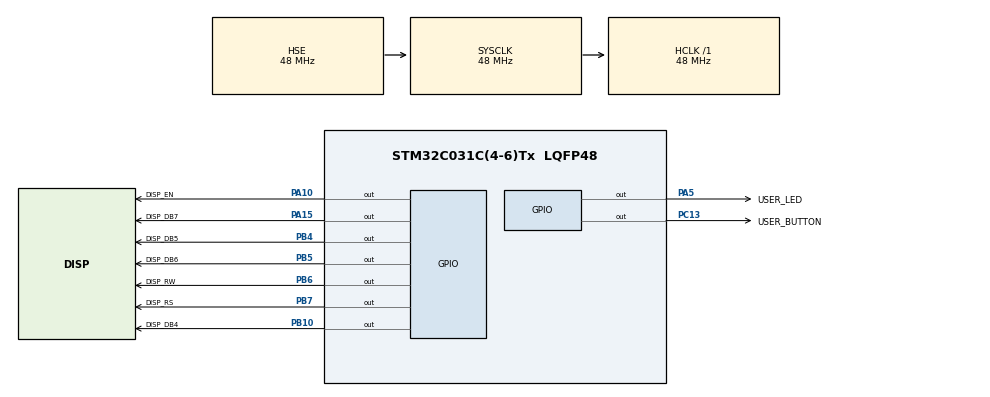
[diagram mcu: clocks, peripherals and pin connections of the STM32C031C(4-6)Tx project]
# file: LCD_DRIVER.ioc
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Mcu.Family=STM32C0
Mcu.Name=STM32C031C(4-6)Tx
Mcu.Package=LQFP48
PA10.GPIO_Label=DISP_EN
PA10.Signal=GPIO_Output
PA13.GPIO_Label=DEBUG_SWDIO
PA13.Signal=DEBUG_SWDIO
PA14-BOOT0.GPIO_Label=DEBUG_SWCLK
PA14-BOOT0.Signal=DEBUG_SWCLK
PA15.GPIO_Label=DISP_DB7
PA15.Signal=GPIO_Output
PA2.GPIO_Label=VCP_USART2_TX
PA2.Signal=USART2_TX
PA3.GPIO_Label=VCP_USART2_RX
PA3.Signal=USART2_RX
PA5.GPIO_Label=USER_LED
PA5.Signal=GPIO_Output
PB10.GPIO_Label=DISP_DB4
PB10.Signal=GPIO_Output
PB4.GPIO_Label=DISP_DB5
PB4.Signal=GPIO_Output
PB5.GPIO_Label=DISP_DB6
PB5.Signal=GPIO_Output
PB6.GPIO_Label=DISP_RW
PB6.Signal=GPIO_Output
PB7.GPIO_Label=DISP_RS
PB7.Signal=GPIO_Output
PC13.GPIO_Label=USER_BUTTON
PC13.Signal=GPIO_Output
PC14-OSCX_IN\ (PC14).GPIO_Label=RCC_OSCX_IN
PC14-OSCX_IN\ (PC14).Mode=LSE-External-Oscillator
PC14-OSCX_IN\ (PC14).Signal=RCC_OSCX_IN
PC15-OSCX_OUT\ (PC15).GPIO_Label=RCC_OSCX_OUT
PC15-OSCX_OUT\ (PC15).Mode=LSE-External-Oscillator
PC15-OSCX_OUT\ (PC15).Signal=RCC_OSCX_OUT
PF0-OSC_IN\ (PF0).GPIO_Label=RCC_OSC_IN
PF0-OSC_IN\ (PF0).Mode=HSE-External-Oscillator
PF0-OSC_IN\ (PF0).Signal=RCC_OSC_IN
PF1-OSC_OUT\ (PF1).GPIO_Label=RCC_OSC_OUT
PF1-OSC_OUT\ (PF1).Mode=HSE-External-Oscillator
PF1-OSC_OUT\ (PF1).Signal=RCC_OSC_OUT
ProjectManager.HeapSize=0x200
ProjectManager.StackSize=0x400
ProjectManager.TargetToolchain=STM32CubeIDE
RCC.ADCFreq_Value=48000000
RCC.AHBFreq_Value=48000000
RCC.CortexFreq_Value=48000000
RCC.EXTERNAL_CLOCK_VALUE=12288000
RCC.HCLKFreq_Value=48000000
RCC.HSE_VALUE=48000000
RCC.HSISYSCLKDivider=RCC_HSI_DIV1
RCC.HSI_VALUE=48000000
RCC.SYSCLKFreq_VALUE=48000000
RCC.SYSCLKSource=RCC_SYSCLKSOURCE_HSE
board=NUCLEO-C031C6

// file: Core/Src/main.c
/* USER CODE BEGIN Header */
/**
  ******************************************************************************
  * @file           : main.c
  * @brief          : Main program body
  ******************************************************************************
  * @attention
  *
  * Copyright (c) 2026 STMicroelectronics.
  * All rights reserved.
  *
  * This software is licensed under terms that can be found in the LICENSE file
  * in the root directory of this software component.
  * If no LICENSE file comes with this software, it is provided AS-IS.
  *
  ******************************************************************************
  */
/* USER CODE END Header */
#include "main.h"

/* USER CODE BEGIN PD */
#define RESET(c)    LL_GPIO_ResetOutputPin(c##_GPIO_Port, c##_Pin)
#define SET(c)      LL_GPIO_SetOutputPin(c##_GPIO_Port, c##_Pin)
#define TOGGLE(c)   LL_GPIO_TogglePin(c##_GPIO_Port, c##_Pin)
#define DIR_OUT(c)  LL_GPIO_SetPinMode(c##_GPIO_Port, c##_Pin, LL_GPIO_MODE_OUTPUT)
#define DIR_IN(c)   LL_GPIO_SetPinMode(c##_GPIO_Port, c##_Pin, LL_GPIO_MODE_INPUT)
#define READ(c)     LL_GPIO_IsInputPinSet(c##_GPIO_Port, c##_Pin)
#define READPORT(c) LL_GPIO_ReadInputPort(c##_GPIO_Port)
/* USER CODE END PD */

void SystemClock_Config(void);
static void MX_GPIO_Init(void);

/* USER CODE BEGIN 0 */

/* ── Forward declarations ───────────────────────────────────────────────── */
void Delay_uS(uint32_t us);
void setLcdDataPort(uint8_t portDato);
int  lcdCheckBusy(void);

/* ── Microsecond delay ──────────────────────────────────────────────────── */
/* Calibrated for STM32C031 at 8 MHz HSE.                                    */
/* If you run at 48 MHz, change the multiplier from 2 to 12.                 */
void Delay_uS(uint32_t us)
{
    volatile uint32_t count = us * 2;
    while (count--);
}

/* ── Set DB4-DB7 data pins ──────────────────────────────────────────────── */
void setLcdDataPort(uint8_t portDato)
{
    if (portDato & 0x1) { SET(DISP_DB4); } else { RESET(DISP_DB4); }
    if (portDato & 0x2) { SET(DISP_DB5); } else { RESET(DISP_DB5); }
    if (portDato & 0x4) { SET(DISP_DB6); } else { RESET(DISP_DB6); }
    if (portDato & 0x8) { SET(DISP_DB7); } else { RESET(DISP_DB7); }
}

/* ── Wait until LCD busy flag clears ───────────────────────────────────── */
int lcdCheckBusy(void)
{
    uint8_t tmpLcdData;
    int delay2 = 0;
    DIR_IN(DISP_DB4); DIR_IN(DISP_DB5);
    DIR_IN(DISP_DB6); DIR_IN(DISP_DB7);
    RESET(DISP_RS);
    SET(DISP_RW);
    do {
        Delay_uS(1);
        SET(DISP_EN);
        Delay_uS(1);
        tmpLcdData = READ(DISP_DB7);
        RESET(DISP_EN);
        Delay_uS(1);
        SET(DISP_EN);
        Delay_uS(1);
        RESET(DISP_EN);
        if (tmpLcdData == 0) break;
    } while (delay2++ < 200);
    RESET(DISP_RW);
    DIR_OUT(DISP_DB4); DIR_OUT(DISP_DB5);
    DIR_OUT(DISP_DB6); DIR_OUT(DISP_DB7);
    return tmpLcdData;
}

/* ── Send 4 bits + EN pulse ─────────────────────────────────────────────── */
static void lcdSendNibble(uint8_t nibble)
{
    setLcdDataPort(nibble & 0x0F);
    Delay_uS(1);
    SET(DISP_EN);
    Delay_uS(1);
    RESET(DISP_EN);
    Delay_uS(1);
}

/* ── Send a full byte as two nibbles (high first, then low) ─────────────── */
static void lcdSendByte(uint8_t byte, uint8_t isData)
{
    lcdCheckBusy();

    if (isData)
        SET(DISP_RS);   /* RS=1 → data register    */
    else
        RESET(DISP_RS); /* RS=0 → command register */

    RESET(DISP_RW);     /* RW=0 → write            */

    lcdSendNibble(byte >> 4);    /* high nibble first */
    lcdSendNibble(byte & 0x0F);  /* low nibble second */
}

/* ── Convenience wrappers ───────────────────────────────────────────────── */
void lcdCommand(uint8_t cmd)  { lcdSendByte(cmd,  0); }
void lcdData   (uint8_t data) { lcdSendByte(data, 1); }

/* ── Full HD44780 4-bit initialization sequence ─────────────────────────── */
void lcdInit(void)
{
    RESET(DISP_EN);
    RESET(DISP_RS);
    RESET(DISP_RW);

    HAL_Delay(50);          /* >40 ms after Vcc rises              */

    /* Special 8-bit wake-up sequence sent as single nibbles */
    lcdSendNibble(0x03);
    HAL_Delay(5);           /* >4.1 ms                             */

    lcdSendNibble(0x03);
    Delay_uS(150);          /* >100 µs                             */

    lcdSendNibble(0x03);
    Delay_uS(150);

    /* Switch to 4-bit mode */
    lcdSendNibble(0x02);
    Delay_uS(150);

    /* Configuration commands (now fully in 4-bit mode) */
    lcdCommand(0x28); /* Function Set: 4-bit, 2 lines, 5x8 font  */
    lcdCommand(0x08); /* Display OFF                              */
    lcdCommand(0x01); /* Clear Display                            */
    HAL_Delay(2);     /* Clear needs >1.52 ms                     */
    lcdCommand(0x06); /* Entry Mode: cursor right, no shift       */
    lcdCommand(0x0C); /* Display ON, cursor OFF, blink OFF        */
}

/* ── Position the cursor ────────────────────────────────────────────────── */
/* row: 0 = first line, 1 = second line  |  col: 0-15                        */
void lcdSetCursor(uint8_t row, uint8_t col)
{
    uint8_t address = col + (row == 0 ? 0x00 : 0x40);
    lcdCommand(0x80 | address);
}

/* ── Print a null-terminated string ─────────────────────────────────────── */
void lcdPrint(const char *str)
{
    while (*str)
        lcdData((uint8_t)*str++);
}

/* USER CODE END 0 */

int main(void)
{

  /* MCU Configuration--------------------------------------------------------*/
  HAL_Init();

  SystemClock_Config();

  MX_GPIO_Init();

  /* USER CODE BEGIN 2 */
  lcdInit();

  lcdSetCursor(0, 0);
  lcdPrint("Roberto");

  lcdSetCursor(1, 0);
  lcdPrint("Andrea");
  /* USER CODE END 2 */

  /* Infinite loop */
  while (1)
  {

  }
}

void SystemClock_Config(void)
{
  RCC_OscInitTypeDef RCC_OscInitStruct = {0};
  RCC_ClkInitTypeDef RCC_ClkInitStruct = {0};

  __HAL_FLASH_SET_LATENCY(FLASH_LATENCY_1);

  RCC_OscInitStruct.OscillatorType = RCC_OSCILLATORTYPE_HSE;
  RCC_OscInitStruct.HSEState = RCC_HSE_ON;
  if (HAL_RCC_OscConfig(&RCC_OscInitStruct) != HAL_OK)
  {
    Error_Handler();
  }

  RCC_ClkInitStruct.ClockType = RCC_CLOCKTYPE_HCLK | RCC_CLOCKTYPE_SYSCLK
                               | RCC_CLOCKTYPE_PCLK1;
  RCC_ClkInitStruct.SYSCLKSource    = RCC_SYSCLKSOURCE_HSE;
  RCC_ClkInitStruct.SYSCLKDivider  = RCC_SYSCLK_DIV1;
  RCC_ClkInitStruct.AHBCLKDivider  = RCC_HCLK_DIV1;
  RCC_ClkInitStruct.APB1CLKDivider = RCC_APB1_DIV1;

  if (HAL_RCC_ClockConfig(&RCC_ClkInitStruct, FLASH_LATENCY_1) != HAL_OK)
  {
    Error_Handler();
  }
}

static void MX_GPIO_Init(void)
{
  LL_GPIO_InitTypeDef GPIO_InitStruct = {0};

  /* GPIO Ports Clock Enable */
  LL_IOP_GRP1_EnableClock(LL_IOP_GRP1_PERIPH_GPIOC);
  LL_IOP_GRP1_EnableClock(LL_IOP_GRP1_PERIPH_GPIOF);
  LL_IOP_GRP1_EnableClock(LL_IOP_GRP1_PERIPH_GPIOA);
  LL_IOP_GRP1_EnableClock(LL_IOP_GRP1_PERIPH_GPIOB);

  LL_GPIO_ResetOutputPin(USER_BUTTON_GPIO_Port, USER_BUTTON_Pin);
  LL_GPIO_ResetOutputPin(USER_LED_GPIO_Port,    USER_LED_Pin);
  LL_GPIO_ResetOutputPin(DISP_DB4_GPIO_Port,    DISP_DB4_Pin);
  LL_GPIO_ResetOutputPin(DISP_EN_GPIO_Port,     DISP_EN_Pin);
  LL_GPIO_ResetOutputPin(DISP_DB7_GPIO_Port,    DISP_DB7_Pin);
  LL_GPIO_ResetOutputPin(DISP_DB5_GPIO_Port,    DISP_DB5_Pin);
  LL_GPIO_ResetOutputPin(DISP_DB6_GPIO_Port,    DISP_DB6_Pin);
  LL_GPIO_ResetOutputPin(DISP_RW_GPIO_Port,     DISP_RW_Pin);
  LL_GPIO_ResetOutputPin(DISP_RS_GPIO_Port,     DISP_RS_Pin);

  GPIO_InitStruct.Mode       = LL_GPIO_MODE_OUTPUT;
  GPIO_InitStruct.Speed      = LL_GPIO_SPEED_FREQ_LOW;
  GPIO_InitStruct.OutputType = LL_GPIO_OUTPUT_PUSHPULL;
  GPIO_InitStruct.Pull       = LL_GPIO_PULL_NO;

  GPIO_InitStruct.Pin = USER_BUTTON_Pin;
  LL_GPIO_Init(USER_BUTTON_GPIO_Port, &GPIO_InitStruct);

  GPIO_InitStruct.Pin = USER_LED_Pin;
  LL_GPIO_Init(USER_LED_GPIO_Port, &GPIO_InitStruct);

  GPIO_InitStruct.Pin = DISP_DB4_Pin;
  LL_GPIO_Init(DISP_DB4_GPIO_Port, &GPIO_InitStruct);

  GPIO_InitStruct.Pin = DISP_EN_Pin;
  LL_GPIO_Init(DISP_EN_GPIO_Port, &GPIO_InitStruct);

  GPIO_InitStruct.Pin = DISP_DB7_Pin;
  LL_GPIO_Init(DISP_DB7_GPIO_Port, &GPIO_InitStruct);

  GPIO_InitStruct.Pin = DISP_DB5_Pin;
  LL_GPIO_Init(DISP_DB5_GPIO_Port, &GPIO_InitStruct);

  GPIO_InitStruct.Pin = DISP_DB6_Pin;
  LL_GPIO_Init(DISP_DB6_GPIO_Port, &GPIO_InitStruct);

  GPIO_InitStruct.Pin = DISP_RW_Pin;
  LL_GPIO_Init(DISP_RW_GPIO_Port, &GPIO_InitStruct);

  GPIO_InitStruct.Pin = DISP_RS_Pin;
  LL_GPIO_Init(DISP_RS_GPIO_Port, &GPIO_InitStruct);

  GPIO_InitStruct.Mode      = LL_GPIO_MODE_ALTERNATE;
  GPIO_InitStruct.Alternate = LL_GPIO_AF_1;

  GPIO_InitStruct.Pin = VCP_USART2_TX_Pin;
  LL_GPIO_Init(VCP_USART2_TX_GPIO_Port, &GPIO_InitStruct);

  GPIO_InitStruct.Pin = VCP_USART2_RX_Pin;
  LL_GPIO_Init(VCP_USART2_RX_GPIO_Port, &GPIO_InitStruct);
}

void Error_Handler(void)
{
  __disable_irq();
  while (1) {}
}
